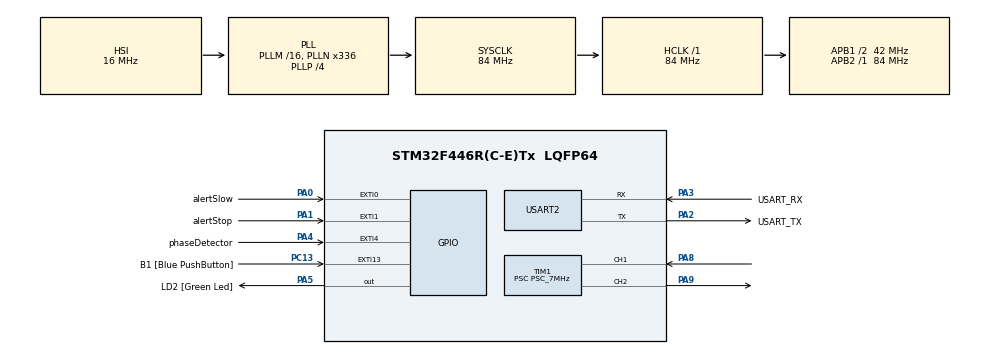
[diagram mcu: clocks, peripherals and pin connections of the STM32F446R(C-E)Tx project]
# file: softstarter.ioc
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Dma.Request0=USART2_RX
Dma.USART2_RX.0.Direction=DMA_PERIPH_TO_MEMORY
Dma.USART2_RX.0.FIFOMode=DMA_FIFOMODE_DISABLE
Dma.USART2_RX.0.Instance=DMA1_Stream5
Dma.USART2_RX.0.MemDataAlignment=DMA_MDATAALIGN_BYTE
Dma.USART2_RX.0.MemInc=DMA_MINC_ENABLE
Dma.USART2_RX.0.Mode=DMA_CIRCULAR
Dma.USART2_RX.0.PeriphDataAlignment=DMA_PDATAALIGN_BYTE
Dma.USART2_RX.0.PeriphInc=DMA_PINC_DISABLE
Dma.USART2_RX.0.Priority=DMA_PRIORITY_LOW
Mcu.Family=STM32F4
Mcu.Name=STM32F446R(C-E)Tx
Mcu.Package=LQFP64
Mcu.UserConstants=PSC_7MHz,(12-1);ARR_8300us,(58100-1)
NVIC.DMA1_Stream5_IRQn=true\:0\:0\:false\:false\:true\:false\:true\:true
NVIC.EXTI0_IRQn=true\:0\:0\:false\:false\:true\:true\:true\:true
NVIC.EXTI1_IRQn=true\:0\:0\:false\:false\:true\:true\:true\:true
NVIC.EXTI4_IRQn=true\:0\:0\:false\:false\:true\:true\:true\:true
NVIC.PriorityGroup=NVIC_PRIORITYGROUP_0
NVIC.TIM1_CC_IRQn=true\:0\:0\:false\:false\:true\:true\:true\:true
NVIC.TIM1_TRG_COM_TIM11_IRQn=true\:0\:0\:false\:false\:true\:true\:true\:true
NVIC.TIM1_UP_TIM10_IRQn=true\:0\:0\:false\:false\:true\:true\:true\:true
PA0-WKUP.GPIO_Label=alertSlow
PA0-WKUP.GPIO_ModeDefaultEXTI=GPIO_MODE_IT_FALLING
PA0-WKUP.Signal=GPXTI0
PA1.GPIO_Label=alertStop
PA1.GPIO_ModeDefaultEXTI=GPIO_MODE_IT_FALLING
PA1.Signal=GPXTI1
PA13.GPIO_Label=TMS
PA13.Mode=Serial_Wire
PA13.Signal=SYS_JTMS-SWDIO
PA14.GPIO_Label=TCK
PA14.Mode=Serial_Wire
PA14.Signal=SYS_JTCK-SWCLK
PA2.GPIO_Label=USART_TX
PA2.Mode=Asynchronous
PA2.Signal=USART2_TX
PA3.GPIO_Label=USART_RX
PA3.Mode=Asynchronous
PA3.Signal=USART2_RX
PA4.GPIO_Label=phaseDetector
PA4.GPIO_ModeDefaultEXTI=GPIO_MODE_IT_RISING
PA4.Signal=GPXTI4
PA5.GPIO_Label=LD2 [Green Led]
PA5.Signal=GPIO_Output
PA8.Signal=S_TIM1_CH1
PA9.Signal=S_TIM1_CH2
PB3.GPIO_Label=SWO
PB3.Signal=SYS_JTDO-SWO
PC13.GPIO_Label=B1 [Blue PushButton]
PC13.GPIO_ModeDefaultEXTI=GPIO_MODE_IT_FALLING
PC13.Signal=GPXTI13
PC14-OSC32_IN.Mode=LSE-External-Oscillator
PC14-OSC32_IN.Signal=RCC_OSC32_IN
PC15-OSC32_OUT.Mode=LSE-External-Oscillator
PC15-OSC32_OUT.Signal=RCC_OSC32_OUT
PH0-OSC_IN.Mode=HSE-External-Oscillator
PH0-OSC_IN.Signal=RCC_OSC_IN
PH1-OSC_OUT.Mode=HSE-External-Oscillator
PH1-OSC_OUT.Signal=RCC_OSC_OUT
ProjectManager.HeapSize=0x200
ProjectManager.StackSize=0x400
ProjectManager.TargetToolchain=STM32CubeIDE
RCC.48MHZClocksFreq_Value=84000000
RCC.AHBFreq_Value=84000000
RCC.APB1CLKDivider=RCC_HCLK_DIV2
RCC.APB1Freq_Value=42000000
RCC.APB1TimFreq_Value=84000000
RCC.APB2Freq_Value=84000000
RCC.APB2TimFreq_Value=84000000
RCC.CortexFreq_Value=84000000
RCC.FLatency-AdvancedSettings=FLASH_LATENCY_2
RCC.HCLKFreq_Value=84000000
RCC.HSE_VALUE=8000000
RCC.HSI_VALUE=16000000
RCC.PLLN=336
RCC.PLLP=RCC_PLLP_DIV4
RCC.SYSCLKFreq_VALUE=84000000
RCC.SYSCLKSource=RCC_SYSCLKSOURCE_PLLCLK
RCC.USBFreq_Value=168000000
RCC.VCOOutputFreq_Value=336000000
SH.S_TIM1_CH1.0=TIM1_CH1,TriggerSource_TI1FP1
SH.S_TIM1_CH2.0=TIM1_CH2,PWM Generation2 CH2
TIM1.AutoReloadPreload=TIM_AUTORELOAD_PRELOAD_ENABLE
TIM1.Channel-PWM\ Generation2\ CH2=TIM_CHANNEL_2
TIM1.OCMode_PWM-PWM\ Generation2\ CH2=TIM_OCMODE_PWM2
TIM1.Period=ARR_8300us
TIM1.Prescaler=PSC_7MHz
TIM1.Pulse-PWM\ Generation2\ CH2=58100
TIM10.Period=(1000-1)
TIM10.Prescaler=(84-1)
TIM11.Period=ARR_8300us
TIM11.Prescaler=PSC_7MHz
USART2.VirtualMode=VM_ASYNC
VP_TIM10_VS_ClockSourceINT.Mode=Enable_Timer
VP_TIM11_VS_ClockSourceINT.Mode=Enable_Timer
VP_TIM1_VS_ClockSourceINT.Mode=Internal
VP_TIM1_VS_ControllerModeTrigger.Mode=Trigger Mode
VP_TIM1_VS_OPM.Mode=OPM_bit
board=NUCLEO-F446RE

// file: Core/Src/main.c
/* USER CODE BEGIN Header */
/**
  ******************************************************************************
  * @file           : main.c
  * @brief          : Main program body
  ******************************************************************************
  * @attention
  *
  * Copyright (c) 2025 STMicroelectronics.
  * All rights reserved.
  *
  * This software is licensed under terms that can be found in the LICENSE file
  * in the root directory of this software component.
  * If no LICENSE file comes with this software, it is provided AS-IS.
  *
  ******************************************************************************
  */
/* USER CODE END Header */
#include "main.h"

/* USER CODE BEGIN Includes */
#include "math.h"
#include "powerToAngle.h"
/* USER CODE END Includes */

/* USER CODE BEGIN PTD */
typedef struct{
	//rising and falling times in seconds
	int risingTime;
	int fallingTime;
}ramps_t;
/* USER CODE END PTD */

/* USER CODE BEGIN PD */
#define PULSE_WIDTH 1000	//pulse width in TIM1's clock pulses (ARR = 58100)
#define TRIGGER_ARR 58100
#define RX_BUFFER_SIZE 4
/* USER CODE END PD */

TIM_HandleTypeDef htim1;
TIM_HandleTypeDef htim10;
TIM_HandleTypeDef htim11;

UART_HandleTypeDef huart2;
DMA_HandleTypeDef hdma_usart2_rx;

/* USER CODE BEGIN PV */
ramps_t ramps;
uint32_t time_ms = 0;		//stopwatch

uint32_t triggerCCR;

uint8_t rx;				//byte received from UART
uint8_t rxBuffer[RX_BUFFER_SIZE];	//stores data received from UART
uint8_t rxFlag = 0;		//flips to 1 when DMA request is complete (a message has been received)
uint8_t inputSize;	//the size of the next expected input

uint8_t alertsEnabled = 0;
uint8_t alertFlag = 0;	// 0 = no alert; 1 = slow alert; 2 = stop alert
uint32_t stopAlertCounter = 0;
uint32_t slowAlertCounter = 0;

uint8_t phaseUp = 0;	//0 - phase is down/off; 1 - phase is up (220V)
/* USER CODE END PV */

void SystemClock_Config(void);
static void MX_GPIO_Init(void);
static void MX_DMA_Init(void);
static void MX_TIM1_Init(void);
static void MX_USART2_UART_Init(void);
static void MX_TIM10_Init(void);
static void MX_TIM11_Init(void);
/* USER CODE BEGIN PFP */
void menu();
void setPr();
void startRamp();
void rampSettings();
void setRampTime(int *rampTime);
void overcurrent();
void phaseDown();

void setTriggerCCR(uint32_t newTrigger);

void clearRxBuffer();
void appendRxBuffer(uint8_t data);
void backspaceRxBuffer();
char isInputComplete();
int extractNumber();	//convert the byte sequence buffer (number written in ASCII) to integer
void receiveInput(int size);

int len(uint8_t *s);	//returns the length of a string
/* USER CODE END PFP */

int main(void)
{

  /* MCU Configuration--------------------------------------------------------*/

  /* Reset of all peripherals, Initializes the Flash interface and the Systick. */
  HAL_Init();

  /* Configure the system clock */
  SystemClock_Config();

  /* Initialize all configured peripherals */
  MX_GPIO_Init();
  MX_DMA_Init();
  MX_TIM1_Init();
  MX_USART2_UART_Init();
  MX_TIM10_Init();
  MX_TIM11_Init();
  /* USER CODE BEGIN 2 */
  triggerCCR = TIM1->CCR2;	//initialize triggerCCR variable
  setTriggerCCR(TRIGGER_ARR);

  HAL_TIM_PWM_Start(&htim1, TIM_CHANNEL_2);	//start trigger PWM

  HAL_TIM_Base_Start_IT(&htim11);	//start phase detection

  //clear buffer and start listening to UART
  clearRxBuffer();
  HAL_UART_Receive_DMA(&huart2, &rx, 1);

  /* USER CODE END 2 */

  /* Infinite loop */
  /* USER CODE BEGIN WHILE */
  while (1)
  {
	  if(!alertFlag)			menu();			//go to menu if everything's alright
	  else if(alertFlag == 2)	overcurrent();	//overcurrent protocol if stopAlert triggers
    /* USER CODE END WHILE */

  }
}

void SystemClock_Config(void)
{
  RCC_OscInitTypeDef RCC_OscInitStruct = {0};
  RCC_ClkInitTypeDef RCC_ClkInitStruct = {0};

  /** Configure the main internal regulator output voltage
  */
  __HAL_RCC_PWR_CLK_ENABLE();
  __HAL_PWR_VOLTAGESCALING_CONFIG(PWR_REGULATOR_VOLTAGE_SCALE3);

  /** Initializes the RCC Oscillators according to the specified parameters
  * in the RCC_OscInitTypeDef structure.
  */
  RCC_OscInitStruct.OscillatorType = RCC_OSCILLATORTYPE_HSI;
  RCC_OscInitStruct.HSIState = RCC_HSI_ON;
  RCC_OscInitStruct.HSICalibrationValue = RCC_HSICALIBRATION_DEFAULT;
  RCC_OscInitStruct.PLL.PLLState = RCC_PLL_ON;
  RCC_OscInitStruct.PLL.PLLSource = RCC_PLLSOURCE_HSI;
  RCC_OscInitStruct.PLL.PLLM = 16;
  RCC_OscInitStruct.PLL.PLLN = 336;
  RCC_OscInitStruct.PLL.PLLP = RCC_PLLP_DIV4;
  RCC_OscInitStruct.PLL.PLLQ = 2;
  RCC_OscInitStruct.PLL.PLLR = 2;
  if (HAL_RCC_OscConfig(&RCC_OscInitStruct) != HAL_OK)
  {
    Error_Handler();
  }

  /** Initializes the CPU, AHB and APB buses clocks
  */
  RCC_ClkInitStruct.ClockType = RCC_CLOCKTYPE_HCLK|RCC_CLOCKTYPE_SYSCLK
                              |RCC_CLOCKTYPE_PCLK1|RCC_CLOCKTYPE_PCLK2;
  RCC_ClkInitStruct.SYSCLKSource = RCC_SYSCLKSOURCE_PLLCLK;
  RCC_ClkInitStruct.AHBCLKDivider = RCC_SYSCLK_DIV1;
  RCC_ClkInitStruct.APB1CLKDivider = RCC_HCLK_DIV2;
  RCC_ClkInitStruct.APB2CLKDivider = RCC_HCLK_DIV1;

  if (HAL_RCC_ClockConfig(&RCC_ClkInitStruct, FLASH_LATENCY_2) != HAL_OK)
  {
    Error_Handler();
  }
}

static void MX_TIM1_Init(void)
{

  TIM_ClockConfigTypeDef sClockSourceConfig = {0};
  TIM_SlaveConfigTypeDef sSlaveConfig = {0};
  TIM_MasterConfigTypeDef sMasterConfig = {0};
  TIM_OC_InitTypeDef sConfigOC = {0};
  TIM_BreakDeadTimeConfigTypeDef sBreakDeadTimeConfig = {0};

  htim1.Instance = TIM1;
  htim1.Init.Prescaler = PSC_7MHz;
  htim1.Init.CounterMode = TIM_COUNTERMODE_UP;
  htim1.Init.Period = ARR_8300us;
  htim1.Init.ClockDivision = TIM_CLOCKDIVISION_DIV1;
  htim1.Init.RepetitionCounter = 0;
  htim1.Init.AutoReloadPreload = TIM_AUTORELOAD_PRELOAD_ENABLE;
  if (HAL_TIM_Base_Init(&htim1) != HAL_OK)
  {
    Error_Handler();
  }
  sClockSourceConfig.ClockSource = TIM_CLOCKSOURCE_INTERNAL;
  if (HAL_TIM_ConfigClockSource(&htim1, &sClockSourceConfig) != HAL_OK)
  {
    Error_Handler();
  }
  if (HAL_TIM_PWM_Init(&htim1) != HAL_OK)
  {
    Error_Handler();
  }
  if (HAL_TIM_OnePulse_Init(&htim1, TIM_OPMODE_SINGLE) != HAL_OK)
  {
    Error_Handler();
  }
  sSlaveConfig.SlaveMode = TIM_SLAVEMODE_TRIGGER;
  sSlaveConfig.InputTrigger = TIM_TS_TI1FP1;
  sSlaveConfig.TriggerPolarity = TIM_TRIGGERPOLARITY_RISING;
  sSlaveConfig.TriggerFilter = 0;
  if (HAL_TIM_SlaveConfigSynchro(&htim1, &sSlaveConfig) != HAL_OK)
  {
    Error_Handler();
  }
  sMasterConfig.MasterOutputTrigger = TIM_TRGO_RESET;
  sMasterConfig.MasterSlaveMode = TIM_MASTERSLAVEMODE_DISABLE;
  if (HAL_TIMEx_MasterConfigSynchronization(&htim1, &sMasterConfig) != HAL_OK)
  {
    Error_Handler();
  }
  sConfigOC.OCMode = TIM_OCMODE_PWM2;
  sConfigOC.Pulse = 58100;
  sConfigOC.OCPolarity = TIM_OCPOLARITY_HIGH;
  sConfigOC.OCNPolarity = TIM_OCNPOLARITY_HIGH;
  sConfigOC.OCFastMode = TIM_OCFAST_DISABLE;
  sConfigOC.OCIdleState = TIM_OCIDLESTATE_RESET;
  sConfigOC.OCNIdleState = TIM_OCNIDLESTATE_RESET;
  if (HAL_TIM_PWM_ConfigChannel(&htim1, &sConfigOC, TIM_CHANNEL_2) != HAL_OK)
  {
    Error_Handler();
  }
  sBreakDeadTimeConfig.OffStateRunMode = TIM_OSSR_DISABLE;
  sBreakDeadTimeConfig.OffStateIDLEMode = TIM_OSSI_DISABLE;
  sBreakDeadTimeConfig.LockLevel = TIM_LOCKLEVEL_OFF;
  sBreakDeadTimeConfig.DeadTime = 0;
  sBreakDeadTimeConfig.BreakState = TIM_BREAK_DISABLE;
  sBreakDeadTimeConfig.BreakPolarity = TIM_BREAKPOLARITY_HIGH;
  sBreakDeadTimeConfig.AutomaticOutput = TIM_AUTOMATICOUTPUT_DISABLE;
  if (HAL_TIMEx_ConfigBreakDeadTime(&htim1, &sBreakDeadTimeConfig) != HAL_OK)
  {
    Error_Handler();
  }
  HAL_TIM_MspPostInit(&htim1);

}

static void MX_TIM10_Init(void)
{

  htim10.Instance = TIM10;
  htim10.Init.Prescaler = (84-1);
  htim10.Init.CounterMode = TIM_COUNTERMODE_UP;
  htim10.Init.Period = (1000-1);
  htim10.Init.ClockDivision = TIM_CLOCKDIVISION_DIV1;
  htim10.Init.AutoReloadPreload = TIM_AUTORELOAD_PRELOAD_DISABLE;
  if (HAL_TIM_Base_Init(&htim10) != HAL_OK)
  {
    Error_Handler();
  }

}

static void MX_TIM11_Init(void)
{

  htim11.Instance = TIM11;
  htim11.Init.Prescaler = PSC_7MHz;
  htim11.Init.CounterMode = TIM_COUNTERMODE_UP;
  htim11.Init.Period = ARR_8300us;
  htim11.Init.ClockDivision = TIM_CLOCKDIVISION_DIV1;
  htim11.Init.AutoReloadPreload = TIM_AUTORELOAD_PRELOAD_DISABLE;
  if (HAL_TIM_Base_Init(&htim11) != HAL_OK)
  {
    Error_Handler();
  }

}

static void MX_USART2_UART_Init(void)
{

  huart2.Instance = USART2;
  huart2.Init.BaudRate = 115200;
  huart2.Init.WordLength = UART_WORDLENGTH_8B;
  huart2.Init.StopBits = UART_STOPBITS_1;
  huart2.Init.Parity = UART_PARITY_NONE;
  huart2.Init.Mode = UART_MODE_TX_RX;
  huart2.Init.HwFlowCtl = UART_HWCONTROL_NONE;
  huart2.Init.OverSampling = UART_OVERSAMPLING_16;
  if (HAL_UART_Init(&huart2) != HAL_OK)
  {
    Error_Handler();
  }

}

static void MX_DMA_Init(void)
{

  /* DMA controller clock enable */
  __HAL_RCC_DMA1_CLK_ENABLE();

  /* DMA interrupt init */
  /* DMA1_Stream5_IRQn interrupt configuration */
  HAL_NVIC_SetPriority(DMA1_Stream5_IRQn, 0, 0);
  HAL_NVIC_EnableIRQ(DMA1_Stream5_IRQn);

}

static void MX_GPIO_Init(void)
{
  GPIO_InitTypeDef GPIO_InitStruct = {0};

  /* GPIO Ports Clock Enable */
  __HAL_RCC_GPIOC_CLK_ENABLE();
  __HAL_RCC_GPIOH_CLK_ENABLE();
  __HAL_RCC_GPIOA_CLK_ENABLE();
  __HAL_RCC_GPIOB_CLK_ENABLE();

  /*Configure GPIO pin Output Level */
  HAL_GPIO_WritePin(LD2_GPIO_Port, LD2_Pin, GPIO_PIN_RESET);

  /*Configure GPIO pin : B1_Pin */
  GPIO_InitStruct.Pin = B1_Pin;
  GPIO_InitStruct.Mode = GPIO_MODE_IT_FALLING;
  GPIO_InitStruct.Pull = GPIO_NOPULL;
  HAL_GPIO_Init(B1_GPIO_Port, &GPIO_InitStruct);

  /*Configure GPIO pins : alertSlow_Pin alertStop_Pin */
  GPIO_InitStruct.Pin = alertSlow_Pin|alertStop_Pin;
  GPIO_InitStruct.Mode = GPIO_MODE_IT_FALLING;
  GPIO_InitStruct.Pull = GPIO_NOPULL;
  HAL_GPIO_Init(GPIOA, &GPIO_InitStruct);

  /*Configure GPIO pin : phaseDetector_Pin */
  GPIO_InitStruct.Pin = phaseDetector_Pin;
  GPIO_InitStruct.Mode = GPIO_MODE_IT_RISING;
  GPIO_InitStruct.Pull = GPIO_NOPULL;
  HAL_GPIO_Init(phaseDetector_GPIO_Port, &GPIO_InitStruct);

  /*Configure GPIO pin : LD2_Pin */
  GPIO_InitStruct.Pin = LD2_Pin;
  GPIO_InitStruct.Mode = GPIO_MODE_OUTPUT_PP;
  GPIO_InitStruct.Pull = GPIO_NOPULL;
  GPIO_InitStruct.Speed = GPIO_SPEED_FREQ_LOW;
  HAL_GPIO_Init(LD2_GPIO_Port, &GPIO_InitStruct);

  /* EXTI interrupt init*/
  HAL_NVIC_SetPriority(EXTI0_IRQn, 0, 0);
  HAL_NVIC_EnableIRQ(EXTI0_IRQn);

  HAL_NVIC_SetPriority(EXTI1_IRQn, 0, 0);
  HAL_NVIC_EnableIRQ(EXTI1_IRQn);

  HAL_NVIC_SetPriority(EXTI4_IRQn, 0, 0);
  HAL_NVIC_EnableIRQ(EXTI4_IRQn);

}

/* USER CODE BEGIN 4 */
void menu(){
	uint8_t message[] = {"\r\n\nCommands:\n\r\t'P': set power ratio\n\r\t'S': start ramp\n\r\t'R': ramp settings\n\rType the command: "};

	HAL_UART_Transmit(&huart2, message, len(message), HAL_MAX_DELAY);	//print menu and prompt
	receiveInput(1);	//1 byte long input expected

	switch(rxBuffer[0]){
	case 'p':
		setPr();
		break;
	case 's':
		startRamp();
		break;
	case 'r':
		rampSettings();
		break;
	}
}

void setPr(){
	uint8_t message[] = {"\r\n\nInsert desired Power Ratio (in percentage): "};
	float Pr, Sr, triggerAngle;
	uint16_t triggerCCR;

	HAL_UART_Transmit(&huart2, message, len(message), HAL_MAX_DELAY);	//print prompt
	receiveInput(3);	//3 bytes long input expected

	Sr = (float)extractNumber()/100;
	Pr = speedToPower(Sr);
	triggerAngle = getTrigger(Pr);
	triggerCCR = (uint16_t)angleToCCR(triggerAngle, TRIGGER_ARR);
	setTriggerCCR(triggerCCR);
}

void startRamp(){
	uint8_t risingMsg[] = {"\r\n\nRising ramp started"};
	uint8_t fullPowerMsg[] = {"\r\nFull power\r\nType 'enter' to start falling ramp"};
	uint8_t fallingMsg[] = {"\r\nFalling ramp started"};
	uint8_t offMsg[] = {"\r\nMotor is off"};
	float Pr, Sr, triggerAngle, time_s;
	uint16_t triggerCCR;

	HAL_UART_Transmit(&huart2, risingMsg, len(risingMsg), HAL_MAX_DELAY);	//print that rising has begun

	alertsEnabled = 1;	//enable overcurrent alerts

	//rising ramp
	HAL_TIM_Base_Start_IT(&htim10);	//start stopwatch
	do{
		//execute phase down protocol
		if(!phaseUp){
			phaseDown();
			return;
		}

		time_s = ((float)(time_ms))/1000;

		//constantly update trigger angle according to the stopwatch, if there is no active alert
		if(!alertFlag){
			Sr = ((float)time_s)/ramps.risingTime;	//percentage of time elapsed (100% is the rising time) is the SpeedRatio
			Pr = speedToPower(Sr);
			triggerAngle = getTrigger(Pr);
			triggerCCR = (uint16_t)angleToCCR(triggerAngle, TRIGGER_ARR);
			setTriggerCCR(triggerCCR);
		}
		//slow down (go back in time) if slowAlert triggers
		else if(alertFlag == 1){
			if(time_ms-200*ramps.risingTime >= 0)	time_ms -= 200*ramps.risingTime;
			else									time_ms = 0;
			alertFlag = 0;
		}
		//execute overcurrent protocol if stopAlert triggers
		else if(alertFlag==2){
			return;
		}
	}while(time_s<ramps.risingTime);	//stop when rising time is complete
	HAL_TIM_Base_Stop_IT(&htim10);
	time_ms = 0;

	HAL_UART_Transmit(&huart2, fullPowerMsg, len(fullPowerMsg), HAL_MAX_DELAY);	//print full power indicator
	receiveInput(1);	//wait for any user input

	if(alertFlag == 2){
		return;
	}

	HAL_UART_Transmit(&huart2, fallingMsg, len(fallingMsg), HAL_MAX_DELAY);	//print that falling has begun

	//falling ramp
	HAL_TIM_Base_Start_IT(&htim10);	//start stopwatch
	do{
		//execute phase down protocol
		if(!phaseUp){
			phaseDown();
			return;
		}

		time_s = ((float)(time_ms))/1000;

		//constantly update trigger angle according to the stopwatch
		Sr = ((float)(ramps.fallingTime-time_s))/ramps.fallingTime;	//percentage of time remaining to falling time is the SpeedRatio
		Pr = speedToPower(Sr);
		triggerAngle = getTrigger(Pr);
		triggerCCR = (uint16_t)angleToCCR(triggerAngle, TRIGGER_ARR);
		setTriggerCCR(triggerCCR);
	}while(time_s<ramps.fallingTime);
	HAL_TIM_Base_Stop_IT(&htim10);
	time_ms = 0;

	HAL_UART_Transmit(&huart2, offMsg, len(offMsg), HAL_MAX_DELAY);	//print that motor is off

	alertsEnabled = 0;	//disable overcurrent alerts
}

void rampSettings(){
	uint8_t message[] = {"\r\n\nRising ramp ('R')\n\rFalling ramp ('F')\n\rSelect an option: "};

	HAL_UART_Transmit(&huart2, message, len(message), HAL_MAX_DELAY);
	receiveInput(1);	//1 byte long input expected

	switch(rxBuffer[0]){
	case 'r':
		setRampTime(&(ramps.risingTime));
		break;
	case 'f':
		setRampTime(&(ramps.fallingTime));
		break;
	}
}

void setRampTime(int *rampTime){
	uint8_t message[] = {"\r\nInsert ramp time in seconds (max 3 digits): "};

	HAL_UART_Transmit(&huart2, message, len(message), HAL_MAX_DELAY);
	receiveInput(3);	//3 bytes long input expected

	*rampTime = extractNumber();
}

void overcurrent(){
	uint8_t overcurrentMsg[] = {"\r\nOvercurrent - process aborted"};

	setTriggerCCR(TRIGGER_ARR);	//turn motor off
	HAL_TIM_Base_Stop(&htim10);	//turn ramp timer off
	time_ms = 0;				//reset ramp time counter

	HAL_UART_Transmit(&huart2, overcurrentMsg, len(overcurrentMsg), HAL_MAX_DELAY);	//print overcurrent message

	alertFlag = 0;		//reset stopAlert flag
	alertsEnabled = 0;	//disable overcurrent alerts
}

void phaseDown(){
	uint8_t phaseDownMsg[] = {"\r\nPhase down - process aborted"};

	setTriggerCCR(TRIGGER_ARR);	//turn motor off
	HAL_TIM_Base_Stop(&htim10);	//turn ramp timer off
	time_ms = 0;				//reset ramp time counter

	HAL_UART_Transmit(&huart2, phaseDownMsg, len(phaseDownMsg), HAL_MAX_DELAY);	//print overcurrent message

	alertFlag = 0;		//reset stopAlert flag
	alertsEnabled = 0;	//disable overcurrent alerts
}

void setTriggerCCR(uint32_t newTrigger){
	TIM1->CCR2 = newTrigger;
	triggerCCR = newTrigger;
}

void clearRxBuffer(){
	for(int i=0; i<RX_BUFFER_SIZE; i++){
		rxBuffer[i] = '\0';
	}
}

void appendRxBuffer(uint8_t data){
	int i=0;

	while(rxBuffer[i]!='\0'){
		i++;
		if(i==RX_BUFFER_SIZE)	return;	//do nothing if buffer is full
	}

	rxBuffer[i] = rx;
}

void backspaceRxBuffer(){
	uint8_t skipLine[] = {"\r\n"};

	int i;

	for(i=RX_BUFFER_SIZE; rxBuffer[i]=='\0'; i--);	//run from end to front in the buffer up to the last character

	rxBuffer[i] = '\0';	//delete the last character in buffer

	//print rxBuffer in next line
	HAL_UART_Transmit(&huart2, skipLine, len(skipLine), HAL_MAX_DELAY);
	i = 0;
	while(rxBuffer[i]!='\0'){
		HAL_UART_Transmit(&huart2, &rxBuffer[i], 1, HAL_MAX_DELAY);
		i++;
	}
}

char isInputComplete(){
	int i=0;

	while(rxBuffer[i]!='\0'){
		i++;
		if(i==inputSize)	return 'c';	//return that input is complete (true)
	}

	return '\0';	//if there are bytes remaining, return false
}

int extractNumber(){
	int num = 0, exponent = 0, i=RX_BUFFER_SIZE-1;

	//run from end to start in the buffer, until data is found
	while(rxBuffer[i]=='\0'){
		i--;
	}

	for(i=i; i>=0; i--){
		num += (rxBuffer[i]-'0')*pow(10, exponent);
		exponent++;
	}

	return num;
}

void receiveInput(int size){
	clearRxBuffer();
	inputSize = size;	//'size' byte long input expected

	//wait for an input
	while(!rxFlag){
		//exit if there's an overcurrent alert or the phase goes down
		if(alertsEnabled && (alertFlag == 2 || !phaseUp))	return;
	}
	rxFlag = 0;
}

int len(uint8_t *s){
	int size = 0;

	while(*s != '\0'){
		size++;
		s++;
	}

	return size;
}

void HAL_UART_RxCpltCallback(UART_HandleTypeDef *huart){
	if(rx!='\177'){
		HAL_UART_Transmit(huart, &rx, 1, HAL_MAX_DELAY);	//echo if key typed was not backspace/del
	}
	//allow user to delete last character, if they typed backspace/del
	else{
		backspaceRxBuffer();
		return;
	}

	//flip flag if user typed 'enter'
	if(rx=='\r'){
		rxFlag++;
		return;
	}

	appendRxBuffer(rx);

	//flip flag when input has been completely received
	if(isInputComplete())	rxFlag++;
}

void HAL_TIM_PeriodElapsedCallback(TIM_HandleTypeDef *htim){
	if(htim->Instance == TIM10){
		time_ms++;	//increment stopwatch by 1 milisecond
	}
	if(htim->Instance == TIM11){
		//decrement phase checking variable. It will be set back to 10 if phase is up. Otherwise it'll eventually become zero, meaning the phase is down
		phaseUp--;
		if(phaseUp == 0xFF)	phaseUp = 0;	//avoid underflow
	}
}

void HAL_GPIO_EXTI_Callback(uint16_t GPIO_Pin){
	//reinforce that phase is up
	if(GPIO_Pin == phaseDetector_Pin){
		phaseUp = 10;
	}

	if(stopAlertCounter || slowAlertCounter || !alertsEnabled)	return;	//ignore alerts if there is already one being processed, or they are disabled

	//alert detection and debouncing

	if(GPIO_Pin == alertStop_Pin){
		while(!HAL_GPIO_ReadPin(GPIOA, alertStop_Pin)){	//if the alert stays valid (active in LOW) for an amount of time
			stopAlertCounter++;
			if(stopAlertCounter>100000){
				stopAlertCounter = 0;
				alertFlag = 2;							//then trigger the alert
				return;
			}
		}
		stopAlertCounter = 0;							//if there is a rising edge at any moment, ignore and reset alert
	}

	if(GPIO_Pin == alertSlow_Pin){
		while(!HAL_GPIO_ReadPin(GPIOA, alertSlow_Pin)){
			slowAlertCounter++;
			if(slowAlertCounter>100000){
				slowAlertCounter = 0;
				alertFlag = 1;
				return;
			}
		}
		slowAlertCounter = 0;
	}
}
/* USER CODE END 4 */

void Error_Handler(void)
{
  __disable_irq();
  while (1)
  {
  }
}
